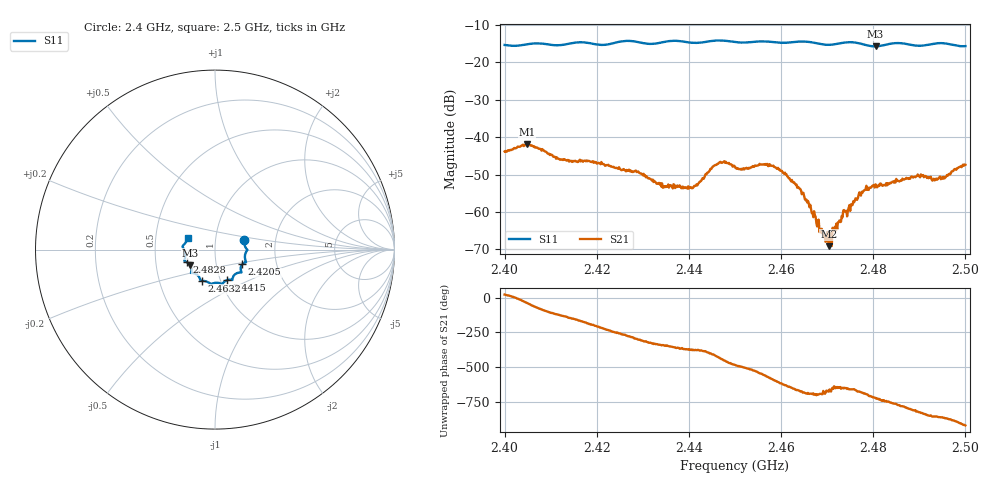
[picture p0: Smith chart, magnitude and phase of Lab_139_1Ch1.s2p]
# Hz S RI R 50
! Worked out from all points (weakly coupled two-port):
!   601 points, 2.4 GHz to 2.5 GHz, reference 50 ohm
!   highest |S21| = -41.94 dB at 2.4048 GHz (marker M1); lowest = -69.2 dB at 2.4703 GHz (marker M2)
!   lowest |S11| = -15.7 dB at 2.4805 GHz (marker M3), VSWR 1.39, Z = 37.3 - j6.7 ohm
!   |S11| at or under -10 dB: start of sweep to end of sweep
!   S12 and S22 are empty: the file has one direction only
!   S11 on the Smith chart (normalised r, x): 2.4 GHz: 1.38, +0.15; 2.4205 GHz: 1.34, -0.23; 2.4415 GHz: 1.07, -0.38; 2.4632 GHz: 0.82, -0.29; 2.4828 GHz: 0.72, -0.10; 2.5 GHz: 0.73, +0.10
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2.4e9  0.1638 0.0514  0.00599 0.00233  0 0  0 0
2.404833e9  0.1749 0.00508  0.00622 -0.00503  0 0  0 0
2.412167e9  0.1665 -0.0389  -0.00316 -0.00393  0 0  0 0
2.416667e9  0.1729 -0.0698  -0.00482 -0.000774  0 0  0 0
2.4205e9  0.152 -0.0817  -0.00384 0.00235  0 0  0 0
2.428833e9  0.1388 -0.1273  0.00169 0.003  0 0  0 0
2.433333e9  0.1004 -0.1514  0.00223 0.000888  0 0  0 0
2.4415e9  0.0655 -0.1707  0.00215 -0.000634  0 0  0 0
2.446333e9  0.0407 -0.1929  0.00164 -0.00408  0 0  0 0
2.45e9  0.0244 -0.1864  -0.0022 -0.00332  0 0  0 0
2.458e9  -0.0315 -0.1856  -0.00292 0.00292  0 0  0 0
2.463167e9  -0.0733 -0.174  0.00124 0.00197  0 0  0 0
2.466667e9  -0.0821 -0.167  0.000836 0.000483  0 0  0 0
2.469167e9  -0.0921 -0.1477  0.000301 0.000356  0 0  0 0
2.470333e9  -0.102 -0.1388  0.000249 0.000242  0 0  0 0
2.477333e9  -0.1312 -0.1203  0.00127 0.00106  0 0  0 0
2.4805e9  -0.139 -0.0874  0.00234 5.93e-06  0 0  0 0
2.482833e9  -0.1587 -0.07  0.00224 -0.000919  0 0  0 0
2.483333e9  -0.1626 -0.0681  0.0021 -0.00105  0 0  0 0
2.489833e9  -0.1657 -0.0244  -0.00063 -0.00297  0 0  0 0
2.495167e9  -0.1799 0.0199  -0.0022 -0.00169  0 0  0 0
2.5e9  -0.1527 0.0643  -0.00406 0.00132  0 0  0 0
